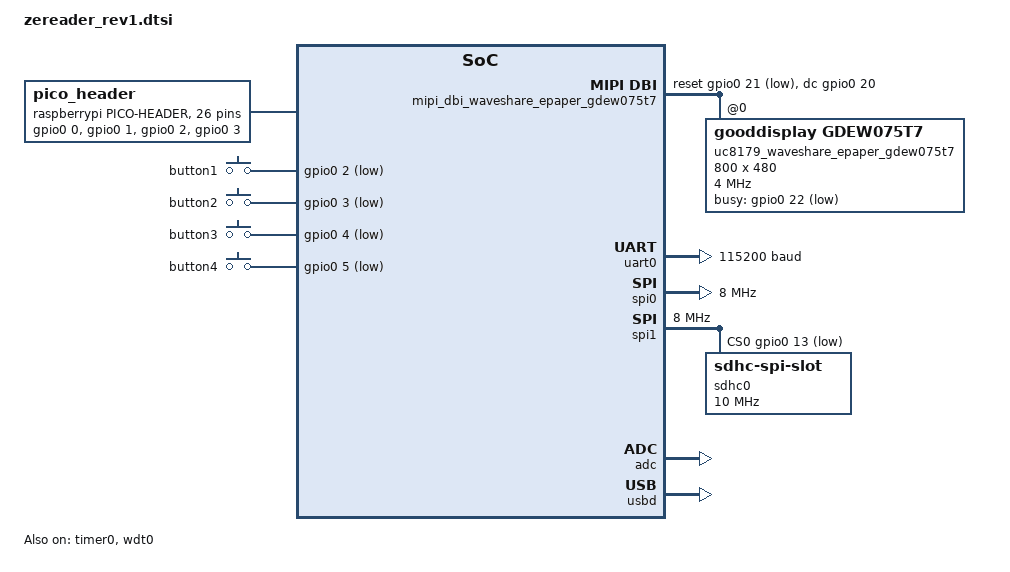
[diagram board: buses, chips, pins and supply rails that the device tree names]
// SPDX-FileCopyrightText: 2025 Anna-Lena Marx <mail@marx.engineer>
//
// SPDX-License-Identifier: MPL-2.0

#include <freq.h>

#include <zephyr/dt-bindings/i2c/i2c.h>
#include <zephyr/dt-bindings/pwm/pwm.h>
#include <zephyr/dt-bindings/input/input-event-codes.h>
#include <zephyr/dt-bindings/lvgl/lvgl.h>

#include "zereader_rev1-pinctrl.dtsi"

/ {
	chosen {
		zephyr,sram = &sram0;
		zephyr,flash = &flash0;
		zephyr,flash-controller = &qmi;
		zephyr,console = &uart0;
		zephyr,shell-uart = &uart0;
		zephyr,display = &uc8179_waveshare_epaper_gdew075t7;
	};

	aliases {
		watchdog0 = &wdt0;
	};

	pico_header: connector {
		compatible = "raspberrypi,pico-header";
		#gpio-cells = <2>;
		gpio-map-mask = <0xffffffff 0xffffffc0>;
		gpio-map-pass-thru = <0 0x3f>;
		gpio-map = <0 0 &gpio0 0 0>, /* GP0 */
		           <1 0 &gpio0 1 0>, /* GP1 */
		           <2 0 &gpio0 2 0>, /* GP2 */
		           <3 0 &gpio0 3 0>, /* GP3 */
		           <4 0 &gpio0 4 0>, /* GP4 */
		           <5 0 &gpio0 5 0>, /* GP5 */
		           <6 0 &gpio0 6 0>, /* GP6 */
		           <7 0 &gpio0 7 0>, /* GP7 */
		           <8 0 &gpio0 8 0>, /* GP8 */
		           <9 0 &gpio0 9 0>, /* GP9 */
		           <10 0 &gpio0 10 0>, /* GP10 */
		           <11 0 &gpio0 11 0>, /* GP11 */
		           <12 0 &gpio0 12 0>, /* GP12 */
		           <13 0 &gpio0 13 0>, /* GP13 */
		           <14 0 &gpio0 14 0>, /* GP14 */
		           <15 0 &gpio0 15 0>, /* GP15 */
		           <16 0 &gpio0 16 0>, /* GP16 */
		           <17 0 &gpio0 17 0>, /* GP17 */
		           <18 0 &gpio0 18 0>, /* GP18 */
		           <19 0 &gpio0 19 0>, /* GP19 */
		           <20 0 &gpio0 20 0>, /* GP20 */
		           <21 0 &gpio0 21 0>, /* GP21 */
		           <22 0 &gpio0 22 0>, /* GP22 */
		           <26 0 &gpio0 26 0>, /* GP26 */
		           <27 0 &gpio0 27 0>, /* GP27 */
		           <28 0 &gpio0 28 0>;    /* GP28 */
	};

	mipi_dbi_waveshare_epaper_gdew075t7 {
		compatible = "zephyr,mipi-dbi-spi";
		spi-dev = <&spi0>; //spi@0 -> GPIO 16-19
		dc-gpios = <&gpio0 20 GPIO_ACTIVE_HIGH>;
		reset-gpios = <&gpio0 21 GPIO_ACTIVE_LOW>;
		write-only;
		#address-cells = <1>;
		#size-cells = <0>;

		uc8179_waveshare_epaper_gdew075t7: uc8179@0 {
			compatible = "gooddisplay,gdew075t7", "ultrachip,uc8179";
			mipi-max-frequency = <4000000>;
			reg = <0>;
			width = <800>;
			height = <480>;
			busy-gpios = <&gpio0 22 GPIO_ACTIVE_LOW>;

			softstart = [ 17 17 28 17  ];

			full {
				pwr = [ 07 07 3f 3f 09  ];
				cdi = <0x07>;
				tcon = <0x60>;
				pll = <0x30>;
			};

			partial {
				pwr = [ 07 07 3f 3f 09  ];
				cdi = <0x07>;
				pll = <0x3c>;
				vdcs = <0x08>;

				        lutc = [
					00 01 0E 00 00 01
					00 00 00 00 00 00
					00 00 00 00 00 00
					00 00 00 00 00 00
					00 00 00 00 00 00
					00 00 00 00 00 00
					00 00 00 00 00 00
					00 00
				];

				lutww = [
					00 01 0E 00 00 01
					00 00 00 00 00 00
					00 00 00 00 00 00
					00 00 00 00 00 00
					00 00 00 00 00 00
					00 00 00 00 00 00
					00 00 00 00 00 00
				];

				lutkw = [
					20 01 0E 00 00 01
					00 00 00 00 00 00
					00 00 00 00 00 00
					00 00 00 00 00 00
					00 00 00 00 00 00
					00 00 00 00 00 00
					00 00 00 00 00 00
				];

				lutwk = [
					10 01 0E 00 00 01
					00 00 00 00 00 00
					00 00 00 00 00 00
					00 00 00 00 00 00
					00 00 00 00 00 00
					00 00 00 00 00 00
					00 00 00 00 00 00
				];

				lutkk = [
					00 01 0E 00 00 01
					00 00 00 00 00 00
					00 00 00 00 00 00
					00 00 00 00 00 00
					00 00 00 00 00 00
					00 00 00 00 00 00
					00 00 00 00 00 00
				];
			};
		};
	};

	keys: keys {
		compatible = "gpio-keys";
		button1: button1 {
			gpios = <&gpio0 2 GPIO_ACTIVE_LOW>;
			zephyr,code = <INPUT_KEY_1>;
		};

		button2: button2 {
			gpios = <&gpio0 3 GPIO_ACTIVE_LOW>;
			zephyr,code = <INPUT_KEY_2>;
		};

		button3: button3 {
			gpios = <&gpio0 4 GPIO_ACTIVE_LOW>;
			zephyr,code = <INPUT_KEY_3>;
		};

		button4: button4 {
			gpios = <&gpio0 5 GPIO_ACTIVE_LOW>;
			zephyr,code = <INPUT_KEY_4>;
		};
	};

	lvgl_button_input: lvgl_button_input {
		compatible = "zephyr,lvgl-button-input";
		input = <&keys>;
		input-codes = <INPUT_KEY_1 INPUT_KEY_2 INPUT_KEY_3 INPUT_KEY_4>;
		coordinates = <10 470>, <360 470>, <450 470>, <770 470>;
	};
};

&flash0 {
	reg = <0x10000000 DT_SIZE_M(4)>;
};

&uart0 {
	current-speed = <115200>;
	status = "okay";
	pinctrl-0 = <&uart0_default>;
	pinctrl-names = "default";
};

gpio0_lo: &gpio0 {
	status = "okay";
};

&spi0 {
	clock-frequency = <DT_FREQ_M(8)>;
	pinctrl-0 = <&spi0_default>;
	pinctrl-names = "default";
	status = "okay";
};

&spi1 {
	clock-frequency = <DT_FREQ_M(8)>;
	pinctrl-0 = <&spi1_default>;
	pinctrl-names = "default";
	status = "okay";

	cs-gpios = <&gpio0 13 GPIO_ACTIVE_LOW>;
	sdhc0: sdhc@0 {
		compatible = "zephyr,sdhc-spi-slot";
		reg = <0>;
		status = "okay";
		mmc {
			compatible = "zephyr,sdmmc-disk";
			disk-name = "SD";
			status = "okay";
		};
		spi-max-frequency = <10000000>;
	};
};

&i2c0 {
	clock-frequency = <I2C_BITRATE_STANDARD>;
	pinctrl-0 = <&i2c0_default>;
	pinctrl-names = "default";
	status = "disabled";
};

&i2c1 {
	clock-frequency = <I2C_BITRATE_STANDARD>;
	pinctrl-0 = <&i2c1_default>;
	pinctrl-names = "default";
	status = "disabled";
};

&adc {
	pinctrl-0 = <&adc_default>;
	pinctrl-names = "default";
	status = "okay";
};

&pwm {
	pinctrl-0 = <&pwm_ch4b_default>;
	pinctrl-names = "default";
	divider-int-0 = <255>;
};

&timer0 {
	status = "okay";
};

&wdt0 {
	status = "okay";
};

zephyr_udc0: &usbd {
	status = "okay";
};

pico_serial: &uart0 {};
